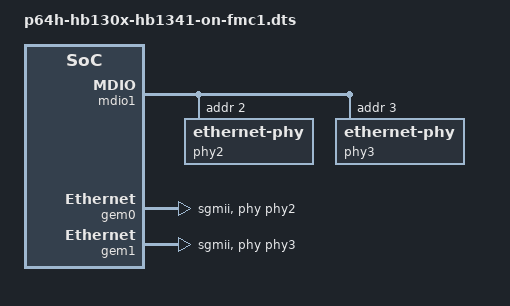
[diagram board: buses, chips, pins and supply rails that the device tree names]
// SPDX-License-Identifier: (GPL-2.0 OR MIT)
/* (c) 2026 Microchip Technology Inc. */

#include "p64h-hb130x.dts"

&mdio1 {
	phy2: ethernet-phy@2 {
		reg = <2>;
	};

	phy3: ethernet-phy@3 {
		reg = <3>;
	};
};

&gem0 {
	status = "okay";
	phy-handle = <&phy2>;
	phy-mode = "sgmii";
};

&gem1 {
	status = "okay";
	phy-handle = <&phy3>;
	phy-mode = "sgmii";
};
